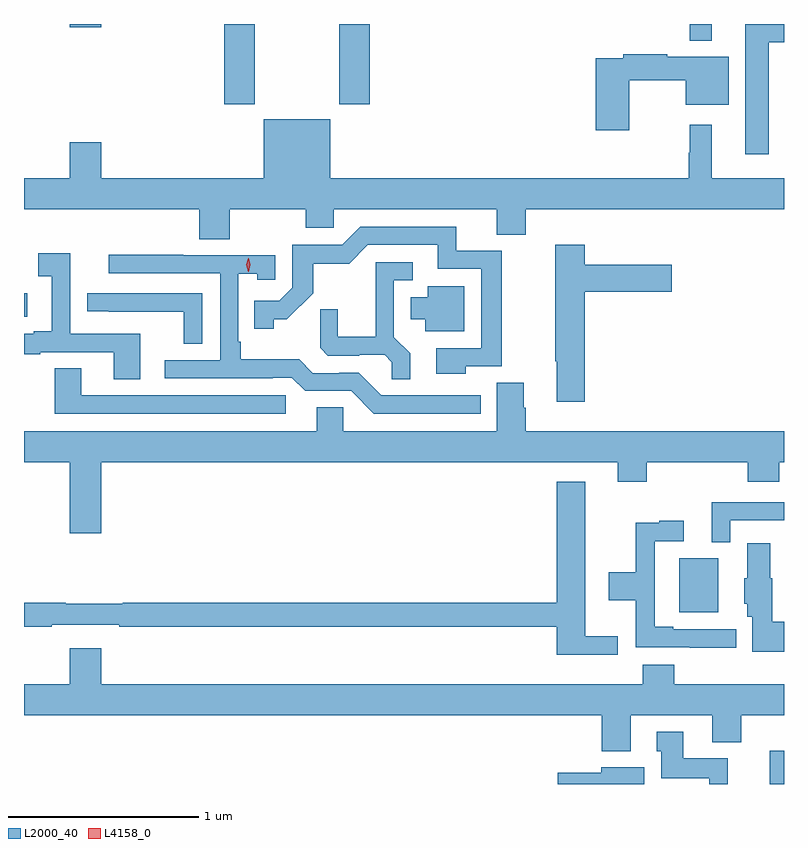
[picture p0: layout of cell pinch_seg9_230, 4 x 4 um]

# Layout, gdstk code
import gdstk
lib = gdstk.Library(unit=1e-6, precision=1e-09)
def R(c, l, rs):  # rectangles x0, y0, x1, y1
    for r in rs: c.add(gdstk.rectangle(r[:2], r[2:], *l))
def P(c, l, *ps):  # polygons
    for p in ps: c.add(gdstk.Polygon(p, *l))
L2000_40 = (2000, 40)
L4158_0 = (4158, 0)

pinch_seg9_230 = lib.new_cell('pinch_seg9_230')
R(pinch_seg9_230, L2000_40, [(396.464,1221.367,396.538,1221.541), (395.987,1222.271,396.193,1222.555), (392.538,1223.825,392.554,1223.949), (393.593,1224.945,393.753,1225.367), (394.198,1224.945,394.358,1225.367), (396.042,1225.28,396.157,1225.367), (392.78,1225.35,392.944,1225.367)])
P(pinch_seg9_230, L2000_40, [(396.457,1225.271),(396.538,1225.271),(396.538,1225.367),(396.335,1225.367),(396.335,1224.681),(396.457,1224.681)],
  [(395.724,1225.072),(396.02,1225.072),(396.02,1224.941),(396.247,1224.941),(396.247,1225.195),(395.924,1225.195),(395.924,1225.208),(395.692,1225.208),(395.692,1225.188),(395.546,1225.188),(395.546,1224.807),(395.724,1224.807)],
  [(393.621,1224.392),(394.021,1224.392),(394.021,1224.294),(394.167,1224.294),(394.167,1224.392),(395.027,1224.392),(395.027,1224.259),(395.18,1224.259),(395.18,1224.392),(396.538,1224.392),(396.538,1224.556),(396.157,1224.556),(396.157,1224.838),(396.043,1224.838),(396.043,1224.689),(396.036,1224.689),(396.036,1224.556),(394.15,1224.556),(394.15,1224.865),(393.8,1224.865),(393.8,1224.556),(392.944,1224.556),(392.944,1224.745),(392.78,1224.745),(392.78,1224.556),(392.538,1224.556),(392.538,1224.392),(393.461,1224.392),(393.461,1224.235),(393.621,1224.235)],
  [(394.863,1223.565),(395.053,1223.565),(395.053,1224.174),(394.814,1224.174),(394.814,1224.3),(394.308,1224.3),(394.212,1224.204),(393.951,1224.204),(393.951,1223.979),(393.882,1223.91),(393.751,1223.91),(393.751,1223.763),(393.852,1223.763),(393.852,1223.813),(393.922,1223.813),(394.06,1223.95),(394.06,1224.106),(394.249,1224.106),(394.347,1224.204),(394.715,1224.204),(394.715,1224.078),(394.944,1224.078),(394.944,1223.661),(394.707,1223.661),(394.707,1223.525),(394.863,1223.525)],
  [(395.489,1223.957),(395.947,1223.957),(395.947,1224.099),(395.489,1224.099),(395.489,1224.205),(395.335,1224.205),(395.335,1223.591),(395.342,1223.591),(395.342,1223.379),(395.489,1223.379)],
  [(393.151,1223.736),(392.781,1223.736),(392.781,1224.16),(392.613,1224.16),(392.613,1224.04),(392.684,1224.04),(392.684,1223.749),(392.588,1223.749),(392.588,1223.736),(392.538,1223.736),(392.538,1223.628),(392.623,1223.628),(392.623,1223.64),(393.011,1223.64),(393.011,1223.497),(393.151,1223.497)],
  [(394.942,1223.412),(394.419,1223.412),(394.299,1223.532),(394.198,1223.532),(394.198,1223.529),(394.059,1223.529),(393.986,1223.602),(393.679,1223.602),(393.679,1223.695),(393.666,1223.695),(393.666,1224.053),(393.765,1224.053),(393.765,1224.021),(393.861,1224.021),(393.861,1224.15),(393.377,1224.15),(393.377,1224.153),(392.985,1224.153),(392.985,1224.054),(393.57,1224.054),(393.57,1223.598),(393.279,1223.598),(393.279,1223.502),(393.848,1223.502),(393.848,1223.505),(393.948,1223.505),(394.017,1223.436),(394.26,1223.436),(394.38,1223.316),(394.942,1223.316)],
  [(394.571,1223.633),(394.485,1223.719),(394.485,1224.018),(394.585,1224.018),(394.585,1224.114),(394.388,1224.114),(394.388,1223.722),(394.19,1223.722),(394.19,1223.865),(394.096,1223.865),(394.096,1223.663),(394.137,1223.622),(394.302,1223.622),(394.302,1223.625),(394.436,1223.625),(394.473,1223.588),(394.473,1223.497),(394.571,1223.497)],
  [(394.855,1223.986),(394.664,1223.986),(394.664,1223.929),(394.574,1223.929),(394.574,1223.813),(394.649,1223.813),(394.649,1223.75),(394.855,1223.75)],
  [(393.477,1223.949),(392.871,1223.949),(392.871,1223.854),(392.983,1223.854),(392.983,1223.853),(393.379,1223.853),(393.379,1223.683),(393.477,1223.683)],
  [(393.916,1223.412),(392.839,1223.412),(392.839,1223.555),(392.699,1223.555),(392.699,1223.316),(393.916,1223.316)],
  [(392.944,1223.06),(395.663,1223.06),(395.663,1222.958),(395.816,1222.958),(395.816,1223.06),(396.347,1223.06),(396.347,1222.958),(396.512,1222.958),(396.512,1223.06),(396.538,1223.06),(396.538,1223.224),(395.18,1223.224),(395.18,1223.346),(395.167,1223.346),(395.167,1223.48),(395.027,1223.48),(395.027,1223.224),(394.218,1223.224),(394.218,1223.351),(394.079,1223.351),(394.079,1223.224),(392.538,1223.224),(392.538,1223.06),(392.78,1223.06),(392.78,1222.686),(392.944,1222.686)],
  [(395.662,1222.145),(395.491,1222.145),(395.491,1222.957),(395.342,1222.957),(395.342,1222.322),(393.058,1222.322),(393.058,1222.315),(392.758,1222.315),(392.758,1222.322),(392.538,1222.322),(392.538,1222.194),(392.684,1222.194),(392.684,1222.206),(393.04,1222.206),(393.04,1222.194),(395.342,1222.194),(395.342,1222.046),(395.662,1222.046)],
  [(396.255,1222.755),(396.538,1222.755),(396.538,1222.851),(396.158,1222.851),(396.158,1222.64),(396.255,1222.64)],
  [(396.286,1222.182),(395.956,1222.182),(395.956,1222.195),(395.859,1222.195),(395.859,1222.644),(396.01,1222.644),(396.01,1222.753),(395.882,1222.753),(395.882,1222.742),(395.758,1222.742),(395.758,1222.482),(395.616,1222.482),(395.616,1222.334),(395.758,1222.334),(395.758,1222.086),(396.043,1222.086),(396.043,1222.085),(396.286,1222.085)],
  [(396.538,1222.222),(396.475,1222.222),(396.475,1222.449),(396.466,1222.449),(396.466,1222.633),(396.344,1222.633),(396.344,1222.449),(396.329,1222.449),(396.329,1222.317),(396.344,1222.317),(396.344,1222.248),(396.371,1222.248),(396.371,1222.064),(396.538,1222.064)],
  [(395.731,1221.728),(396.161,1221.728),(396.161,1221.587),(396.314,1221.587),(396.314,1221.728),(396.538,1221.728),(396.538,1221.892),(395.96,1221.892),(395.96,1221.994),(395.795,1221.994),(395.795,1221.892),(392.944,1221.892),(392.944,1222.081),(392.78,1222.081),(392.78,1221.892),(392.538,1221.892),(392.538,1221.728),(395.579,1221.728),(395.579,1221.539),(395.731,1221.539)],
  [(396.243,1221.502),(396.007,1221.502),(396.007,1221.643),(395.867,1221.643),(395.867,1221.54),(395.891,1221.54),(395.891,1221.398),(396.144,1221.398),(396.144,1221.367),(396.243,1221.367)],
  [(395.803,1221.454),(395.576,1221.454),(395.576,1221.427),(395.347,1221.427),(395.347,1221.367),(395.803,1221.367)])
P(pinch_seg9_230, L4158_0, [(393.719,1224.063),(393.719,1224.063),(393.709,1224.099),(393.719,1224.134),(393.719,1224.135),(393.72,1224.134),(393.729,1224.099),(393.72,1224.063)])

lib.write_gds('pinch_seg9_230.gds')
